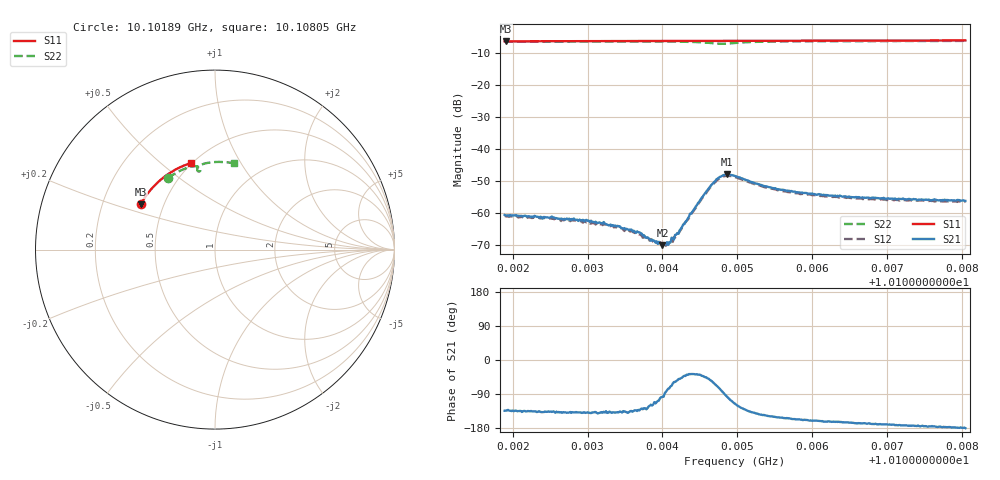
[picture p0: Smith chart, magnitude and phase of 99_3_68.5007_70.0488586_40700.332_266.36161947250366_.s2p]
#  HZ  S  RI  R  50.00
! Rohde & Schwarz Vector Network Analyzer
! Rohde-Schwarz,ZNB20-2Port,1311601062101988,3.16
! Created: UTC 3/20/2024, 5:08:08 PM
! freq[Hz]  re:S11  im:S11  re:S21  im:S21  re:S12  im:S12  re:S22  im:S22
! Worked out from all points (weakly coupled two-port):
!   401 points, 10.10189 GHz to 10.10805 GHz, reference 50 ohm
!   highest |S21| = -48.00 dB at 10.10486 GHz (marker M1); lowest = -70.2 dB at 10.104 GHz (marker M2)
!   lowest |S11| = -6.3 dB at 10.10191 GHz (marker M3), VSWR 2.88, Z = 18.6 + j12.3 ohm
!   |S11| at or under -10 dB: nowhere
!   |S22| runs from -7.1 to -6.2 dB; largest |S21 - S12| = 0.00041
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1.0101892e10  -0.4139 0.2521  -0.00064 -0.000666  -0.000562 -0.000677  -0.2617 0.3989
1.0101907e10  -0.4133 0.2529  -0.000627 -0.000655  -0.000559 -0.000691  -0.2606 0.3994
1.0102923e10  -0.3803 0.3053  -0.000577 -0.00049  -0.000501 -0.000516  -0.2041 0.4342
1.0103246e10  -0.3686 0.3208  -0.000469 -0.000466  -0.000462 -0.000465  -0.1846 0.4436
1.01034e10  -0.3627 0.3281  -0.000461 -0.000421  -0.000377 -0.000424  -0.1748 0.4478
1.0103693e10  -0.3511 0.3418  -0.000337 -0.000363  -0.000279 -0.00036  -0.156 0.4551
1.0103816e10  -0.3462 0.3471  -0.000217 -0.000335  -0.000187 -0.000339  -0.1475 0.4579
1.0103954e10  -0.3404 0.3533  -0.000102 -0.000336  -4.63e-05 -0.000334  -0.1376 0.4606
1.0104e10  -0.3385 0.3554  -3.87e-05 -0.000305  2.03e-05 -0.000313  -0.1342 0.4614
1.0104077e10  -0.3352 0.3588  7.71e-05 -0.000303  9.92e-05 -0.000319  -0.1283 0.4626
1.0104154e10  -0.332 0.362  0.000203 -0.000324  0.000233 -0.000345  -0.1224 0.4636
1.0104231e10  -0.3287 0.3654  0.000343 -0.000407  0.0004 -0.000319  -0.116 0.4642
1.0104539e10  -0.315 0.3782  0.00133 -0.0012  0.00139 -0.00105  -0.088 0.4584
1.0104693e10  -0.308 0.3842  0.00144 -0.00268  0.00162 -0.00244  -0.0802 0.4438
1.010477e10  -0.3046 0.3873  0.000832 -0.00356  0.00111 -0.00333  -0.0842 0.4364
1.0104862e10  -0.3005 0.3908  -0.000449 -0.00396  -7.07e-05 -0.00379  -0.0937 0.4361
1.010497e10  -0.2955 0.395  -0.00163 -0.00342  -0.0013 -0.00339  -0.0991 0.4459
1.0105262e10  -0.2816 0.4059  -0.00223 -0.00178  -0.00197 -0.00191  -0.0841 0.4688
1.0105555e10  -0.2673 0.4166  -0.00205 -0.00111  -0.00189 -0.00127  -0.0623 0.4782
1.0106001e10  -0.2447 0.4314  -0.00188 -0.000672  -0.00171 -0.000807  -0.0307 0.485
1.0107032e10  -0.1896 0.4607  -0.00163 -0.000284  -0.00155 -0.000428  0.0378 0.4883
1.0108048e10  -0.1322 0.4823  -0.00154 -7.02e-06  -0.00149 -0.00017  0.1032 0.4812
